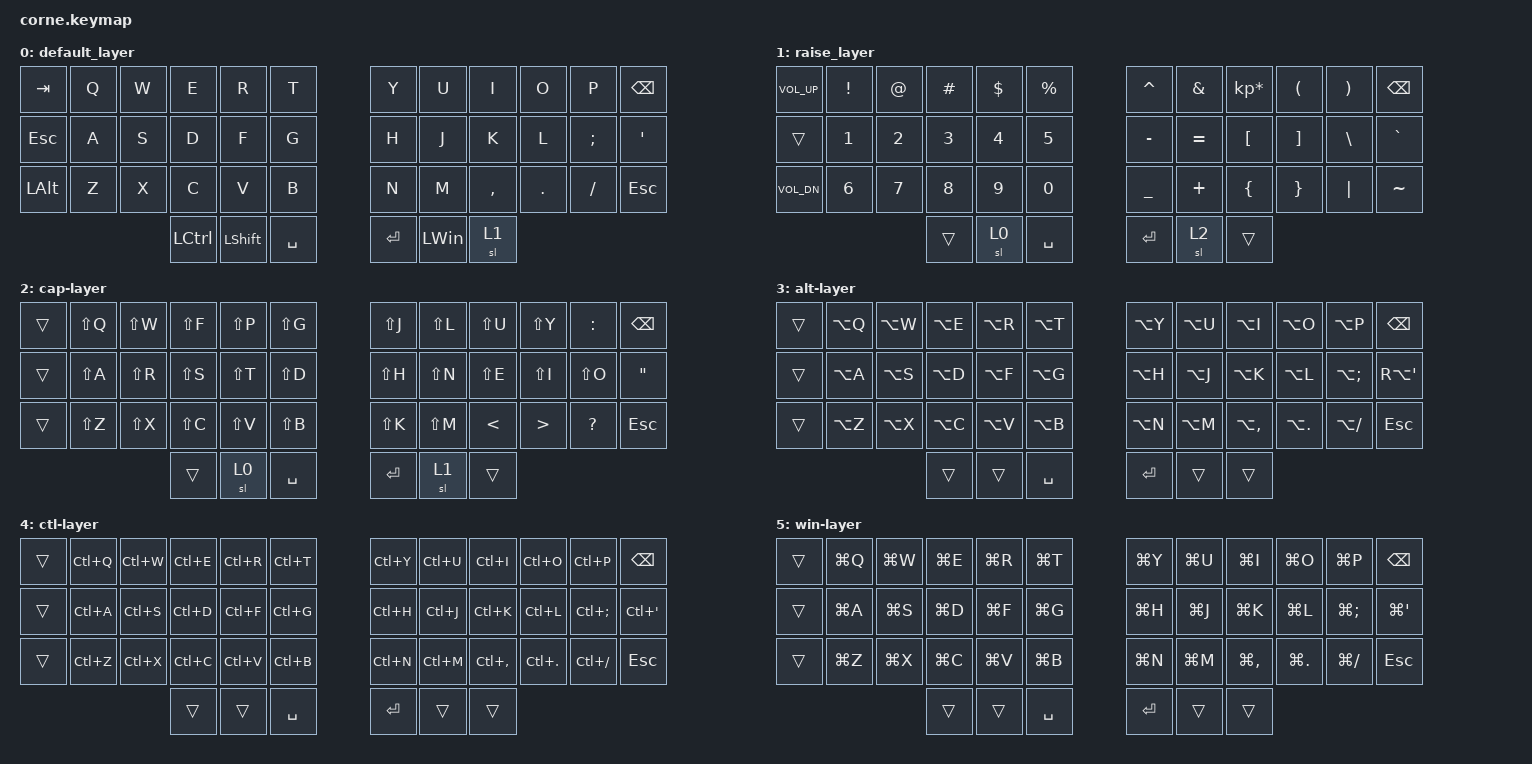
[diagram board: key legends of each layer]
/*
 * Copyright (c) 2020 The ZMK Contributors
 *
 * SPDX-License-Identifier: MIT
 */

#include <behaviors.dtsi>
#include <dt-bindings/zmk/keys.h>

/ {
    behaviors {
        onekey: onekey_tap_hold_ {
            compatible = "zmk,behavior-hold-tap";
            label = "ONEKEY(TAP/HOLD)";
            bindings = <&mo>, <&mo>;

            #binding-cells = <2>;
            tapping-term-ms = <200>;
        };

        sticky: sticky_tap_hold_ {
            compatible = "zmk,behavior-hold-tap";
            label = "STICKY(TAP/HOLD)";
            bindings = <&sl>, <&sl>;

            #binding-cells = <2>;
            tapping-term-ms = <200>;
        };

        stickytap: stickytap_onekeyhold {
            compatible = "zmk,behavior-hold-tap";
            label = "STICKYTAP/ONEKEYHOLD";
            bindings = <&mo>, <&tog>;

            #binding-cells = <2>;
            tapping-term-ms = <200>;
        };
    };

    keymap {
        compatible = "zmk,keymap";

        default_layer {
            // -----------------------------------------------------------------------------------------
            // |  TAB |  Q  |  W  |  E  |  R  |  T  |   |  Y  |  U   |  I  |  O  |  P  | BKSP |
            // | CTRL |  A  |  S  |  D  |  F  |  G  |   |  H  |  J   |  K  |  L  |  ;  |  '   |
            // | SHFT |  Z  |  X  |  C  |  V  |  B  |   |  N  |  M   |  ,  |  .  |  /  | ESC  |
            //                    | GUI | LWR | SPC |   | ENT | RSE  | ALT |

            bindings = <
&kp TAB       &kp Q  &kp W  &kp E      &kp R           &kp T        &kp Y    &kp U         &kp I      &kp O    &kp P          &kp BSPC
&kp ESC       &kp A  &kp S  &kp D      &kp F           &kp G        &kp H    &kp J         &kp K      &kp L    &kp SEMICOLON  &kp SQT
&kp LEFT_ALT  &kp Z  &kp X  &kp C      &kp V           &kp B        &kp N    &kp M         &kp COMMA  &kp DOT  &kp FSLH       &kp ESC
                            &kp LCTRL  &kp LEFT_SHIFT  &kp SPACE    &kp RET  &kp LEFT_WIN  &sl 1
            >;
        };

        raise_layer {
            // -----------------------------------------------------------------------------------------
            // |  TAB |  !  |  @  |  #  |  $  |  %  |   |  ^  |  &  |  *  |  (  |  )  | BKSP |
            // | CTRL |     |     |     |     |     |   |  -  |  =  |  [  |  ]  |  \  |  `   |
            // | SHFT |     |     |     |     |     |   |  _  |  +  |  {  |  }  | "|" |  ~   |
            //                    | GUI |     | SPC |   | ENT |     | ALT |

            bindings = <
&kp C_VOLUME_UP  &kp EXCL      &kp AT        &kp HASH      &kp DLLR      &kp PRCNT    &kp CARET  &kp AMPS   &kp KP_MULTIPLY  &kp LPAR  &kp RPAR  &kp BSPC
&trans           &kp NUMBER_1  &kp NUMBER_2  &kp NUMBER_3  &kp NUMBER_4  &kp N5       &kp MINUS  &kp EQUAL  &kp LBKT         &kp RBKT  &kp BSLH  &kp GRAVE
&kp C_VOL_DN     &kp NUMBER_6  &kp N7        &kp N8        &kp N9        &kp N0       &kp UNDER  &kp PLUS   &kp LBRC         &kp RBRC  &kp PIPE  &kp TILDE
                                             &trans        &sl 0         &kp SPACE    &kp RET    &sl 2      &trans
            >;
        };

        cap-layer {
            bindings = <
&trans  &kp LS(Q)  &kp LS(W)  &kp LS(F)  &kp LS(P)  &kp LS(G)    &kp LS(J)  &kp LS(L)  &kp LS(U)      &kp LS(Y)         &kp COLON     &kp BSPC
&trans  &kp LS(A)  &kp LS(R)  &kp LS(S)  &kp LS(T)  &kp LS(D)    &kp LS(H)  &kp LS(N)  &kp LS(E)      &kp LS(I)         &kp LS(O)     &kp DOUBLE_QUOTES
&trans  &kp LS(Z)  &kp LS(X)  &kp LS(C)  &kp LS(V)  &kp LS(B)    &kp LS(K)  &kp LS(M)  &kp LESS_THAN  &kp GREATER_THAN  &kp QUESTION  &kp ESC
                              &trans     &sl 0      &kp SPACE    &kp RET    &sl 1      &trans
            >;
        };

        alt-layer {
            bindings = <
&trans  &kp LA(Q)  &kp LA(W)  &kp LA(E)  &kp LA(R)  &kp LA(T)    &kp LA(Y)  &kp LA(U)  &kp LA(I)      &kp LA(O)    &kp LA(P)          &kp BSPC
&trans  &kp LA(A)  &kp LA(S)  &kp LA(D)  &kp LA(F)  &kp LA(G)    &kp LA(H)  &kp LA(J)  &kp LA(K)      &kp LA(L)    &kp LA(SEMICOLON)  &kp RA(SQT)
&trans  &kp LA(Z)  &kp LA(X)  &kp LA(C)  &kp LA(V)  &kp LA(B)    &kp LA(N)  &kp LA(M)  &kp LA(COMMA)  &kp LA(DOT)  &kp LA(FSLH)       &kp ESC
                              &trans     &trans     &kp SPACE    &kp RET    &trans     &trans
            >;
        };

        ctl-layer {
            bindings = <
&trans  &kp LC(Q)  &kp LC(W)  &kp LC(E)  &kp LC(R)  &kp LC(T)    &kp LC(Y)  &kp LC(U)  &kp LC(I)      &kp LC(O)    &kp LC(P)          &kp BSPC
&trans  &kp LC(A)  &kp LC(S)  &kp LC(D)  &kp LC(F)  &kp LC(G)    &kp LC(H)  &kp LC(J)  &kp LC(K)      &kp LC(L)    &kp LC(SEMICOLON)  &kp LC(SQT)
&trans  &kp LC(Z)  &kp LC(X)  &kp LC(C)  &kp LC(V)  &kp LC(B)    &kp LC(N)  &kp LC(M)  &kp LC(COMMA)  &kp LC(DOT)  &kp LC(FSLH)       &kp ESC
                              &trans     &trans     &kp SPACE    &kp RET    &trans     &trans
            >;
        };

        win-layer {
            bindings = <
&trans  &kp LG(Q)  &kp LG(W)  &kp LG(E)  &kp LG(R)  &kp LG(T)    &kp LG(Y)  &kp LG(U)  &kp LG(I)      &kp LG(O)    &kp LG(P)          &kp BSPC
&trans  &kp LG(A)  &kp LG(S)  &kp LG(D)  &kp LG(F)  &kp LG(G)    &kp LG(H)  &kp LG(J)  &kp LG(K)      &kp LG(L)    &kp LG(SEMICOLON)  &kp LG(SQT)
&trans  &kp LG(Z)  &kp LG(X)  &kp LG(C)  &kp LG(V)  &kp LG(B)    &kp LG(N)  &kp LG(M)  &kp LG(COMMA)  &kp LG(DOT)  &kp LG(FSLH)       &kp ESC
                              &trans     &trans     &kp SPACE    &kp RET    &trans     &trans
            >;
        };
    };

    conditional_layers {
        compatible = "zmk,conditional-layers";

        test {
            if-layers = <0>;
            then-layer = <6>;
        };
    };
};
